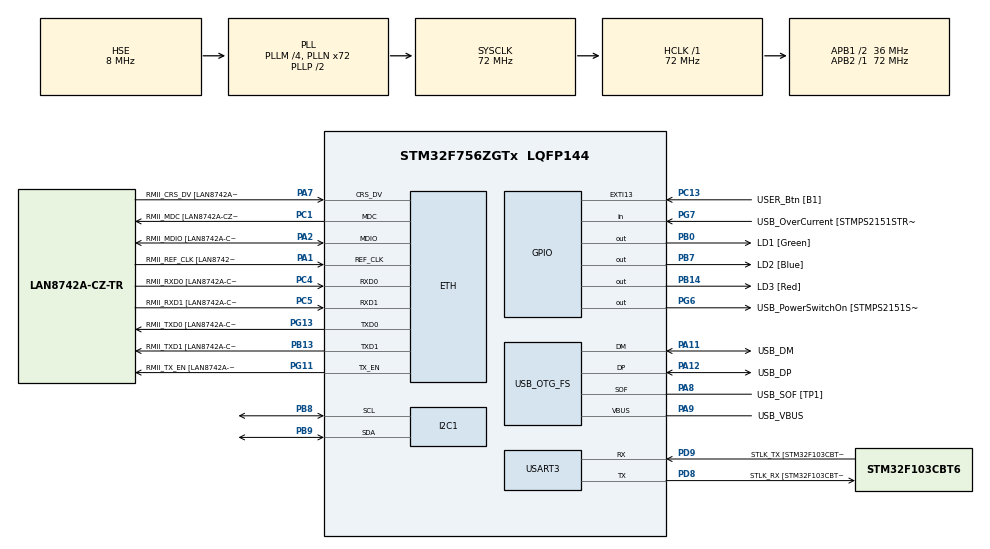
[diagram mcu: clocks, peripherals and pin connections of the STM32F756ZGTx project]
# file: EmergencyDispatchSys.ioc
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ETH.MediaInterface=HAL_ETH_RMII_MODE
ETH.PHY_Name=LAN8742A_PHY_ADDRESS
ETH.PHY_Value=0
ETH.PhyAddress=0
FREERTOS.Tasks01=defaultTask,24,128,StartDefaultTask,Default,NULL,Dynamic,NULL,NULL
I2C1.Timing=0x00808CD2
Mcu.Family=STM32F7
Mcu.Name=STM32F756ZGTx
Mcu.Package=LQFP144
NVIC.PriorityGroup=NVIC_PRIORITYGROUP_4
PA1.GPIO_Label=RMII_REF_CLK [LAN8742A-CZ-TR_REFCLK0]
PA1.Mode=RMII
PA1.Signal=ETH_REF_CLK
PA10.GPIO_Label=USB_ID
PA10.Signal=USB_OTG_FS_ID
PA11.GPIO_Label=USB_DM
PA11.Mode=Device_Only
PA11.Signal=USB_OTG_FS_DM
PA12.GPIO_Label=USB_DP
PA12.Mode=Device_Only
PA12.Signal=USB_OTG_FS_DP
PA13.GPIO_Label=TMS
PA13.Mode=Serial_Wire
PA13.Signal=SYS_JTMS-SWDIO
PA14.GPIO_Label=TCK
PA14.Mode=Serial_Wire
PA14.Signal=SYS_JTCK-SWCLK
PA2.GPIO_Label=RMII_MDIO [LAN8742A-CZ-TR_MDIO]
PA2.Mode=RMII
PA2.Signal=ETH_MDIO
PA7.GPIO_Label=RMII_CRS_DV [LAN8742A-CZ-TR_CRS_DV]
PA7.Mode=RMII
PA7.Signal=ETH_CRS_DV
PA8.GPIO_Label=USB_SOF [TP1]
PA8.Mode=Activate_SOF_FS
PA8.Signal=USB_OTG_FS_SOF
PA9.GPIO_Label=USB_VBUS
PA9.Mode=Activate_VBUS
PA9.Signal=USB_OTG_FS_VBUS
PB0.GPIO_Label=LD1 [Green]
PB0.Signal=GPIO_Output
PB13.GPIO_Label=RMII_TXD1 [LAN8742A-CZ-TR_TXD1]
PB13.Mode=RMII
PB13.Signal=ETH_TXD1
PB14.GPIO_Label=LD3 [Red]
PB14.Signal=GPIO_Output
PB3.GPIO_Label=SW0
PB3.Signal=SYS_JTDO-SWO
PB7.GPIO_Label=LD2 [Blue]
PB7.Signal=GPIO_Output
PB8.Mode=I2C
PB8.Signal=I2C1_SCL
PB9.Mode=I2C
PB9.Signal=I2C1_SDA
PC1.GPIO_Label=RMII_MDC [LAN8742A-CZ-TR_MDC]
PC1.Mode=RMII
PC1.Signal=ETH_MDC
PC13.GPIO_Label=USER_Btn [B1]
PC13.Signal=GPXTI13
PC14/OSC32_IN.Mode=LSE-External-Oscillator
PC14/OSC32_IN.Signal=RCC_OSC32_IN
PC15/OSC32_OUT.Mode=LSE-External-Oscillator
PC15/OSC32_OUT.Signal=RCC_OSC32_OUT
PC4.GPIO_Label=RMII_RXD0 [LAN8742A-CZ-TR_RXD0]
PC4.Mode=RMII
PC4.Signal=ETH_RXD0
PC5.GPIO_Label=RMII_RXD1 [LAN8742A-CZ-TR_RXD1]
PC5.Mode=RMII
PC5.Signal=ETH_RXD1
PD8.GPIO_Label=STLK_RX [STM32F103CBT6_PA3]
PD8.Mode=Asynchronous
PD8.Signal=USART3_TX
PD9.GPIO_Label=STLK_TX [STM32F103CBT6_PA2]
PD9.Mode=Asynchronous
PD9.Signal=USART3_RX
PG11.GPIO_Label=RMII_TX_EN [LAN8742A-CZ-TR_TXEN]
PG11.Mode=RMII
PG11.Signal=ETH_TX_EN
PG13.GPIO_Label=RMII_TXD0 [LAN8742A-CZ-TR_TXD0]
PG13.Mode=RMII
PG13.Signal=ETH_TXD0
PG6.GPIO_Label=USB_PowerSwitchOn [STMPS2151STR_EN]
PG6.Signal=GPIO_Output
PG7.GPIO_Label=USB_OverCurrent [STMPS2151STR_FAULT]
PG7.Signal=GPIO_Input
PH0/OSC_IN.GPIO_Label=MCO [STM32F103CBT6_PA8]
PH0/OSC_IN.Mode=HSE-External-Clock-Source
PH0/OSC_IN.Signal=RCC_OSC_IN
PH1/OSC_OUT.Mode=HSE-External-Clock-Source
PH1/OSC_OUT.Signal=RCC_OSC_OUT
ProjectManager.HeapSize=0x200
ProjectManager.StackSize=0x400
ProjectManager.TargetToolchain=STM32CubeIDE
RCC.48MHZClocksFreq_Value=24000000
RCC.AHBFreq_Value=72000000
RCC.APB1CLKDivider=RCC_HCLK_DIV2
RCC.APB1Freq_Value=36000000
RCC.APB1TimFreq_Value=72000000
RCC.APB2Freq_Value=72000000
RCC.APB2TimFreq_Value=72000000
RCC.CortexFreq_Value=72000000
RCC.HCLKFreq_Value=72000000
RCC.HSE_VALUE=8000000
RCC.HSI_VALUE=16000000
RCC.PLLM=4
RCC.PLLMUL=RCC_PLL_MUL9
RCC.PLLN=72
RCC.PLLQ=3
RCC.PRESCALERUSB=RCC_USBCLKSOURCE_PLL_DIV1_5
RCC.SYSCLKFreq_VALUE=72000000
RCC.SYSCLKSource=RCC_SYSCLKSOURCE_PLLCLK
RCC.SYSCLKSourceVirtual=RCC_SYSCLKSOURCE_PLLCLK
RCC.USBFreq_Value=48000000
RCC.VCOOutputFreq_Value=144000000
USART3.VirtualMode-Asynchronous=VM_ASYNC
USB_OTG_FS.VirtualMode=Device_Only
VP_FREERTOS_VS_CMSIS_V2.Mode=CMSIS_V2
board=NUCLEO-F756ZG

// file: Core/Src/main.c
/* USER CODE BEGIN Header */
/**
  ******************************************************************************
  * @file           : main.c
  * @brief          : Main program body
  ******************************************************************************
  * @attention
  *
  * Copyright (c) 2025 STMicroelectronics.
  * All rights reserved.
  *
  * This software is licensed under terms that can be found in the LICENSE file
  * in the root directory of this software component.
  * If no LICENSE file comes with this software, it is provided AS-IS.
  *
  ******************************************************************************
  */
/* USER CODE END Header */
#include "main.h"
#include "string.h"
#include "cmsis_os.h"

/* USER CODE BEGIN Includes */
#include <stdio.h>
#include <unistd.h>
#include <time.h>
#include <stdlib.h>
#include <string.h>
#include "FreeRTOS.h"
#include "task.h"
#include "queue.h"
#include "semphr.h"
#include "edconfig.h"
/* USER CODE END Includes */

/* USER CODE BEGIN PTD */
typedef struct EmergencyEvent_t
{
    int event_id;
} EmergencyEvent_t;

typedef struct LogEvent_t
{
    int event_id;
    int log_type;
    char msg[LOG_LEN];
} LogEvent_t;
/* USER CODE END PTD */

#if defined ( __ICCARM__ ) /*!< IAR Compiler */
#pragma location=0x2004c000
ETH_DMADescTypeDef  DMARxDscrTab[ETH_RX_DESC_CNT]; /* Ethernet Rx DMA Descriptors */
#pragma location=0x2004c0a0
ETH_DMADescTypeDef  DMATxDscrTab[ETH_TX_DESC_CNT]; /* Ethernet Tx DMA Descriptors */

#elif defined ( __CC_ARM )  /* MDK ARM Compiler */

__attribute__((at(0x2004c000))) ETH_DMADescTypeDef  DMARxDscrTab[ETH_RX_DESC_CNT]; /* Ethernet Rx DMA Descriptors */
__attribute__((at(0x2004c0a0))) ETH_DMADescTypeDef  DMATxDscrTab[ETH_TX_DESC_CNT]; /* Ethernet Tx DMA Descriptors */

#elif defined ( __GNUC__ ) /* GNU Compiler */

ETH_DMADescTypeDef DMARxDscrTab[ETH_RX_DESC_CNT] __attribute__((section(".RxDecripSection"))); /* Ethernet Rx DMA Descriptors */
ETH_DMADescTypeDef DMATxDscrTab[ETH_TX_DESC_CNT] __attribute__((section(".TxDecripSection")));   /* Ethernet Tx DMA Descriptors */
#endif

ETH_TxPacketConfig TxConfig;

ETH_HandleTypeDef heth;

I2C_HandleTypeDef hi2c1;

UART_HandleTypeDef huart3;

PCD_HandleTypeDef hpcd_USB_OTG_FS;

/* Definitions for defaultTask */
osThreadId_t defaultTaskHandle;
const osThreadAttr_t defaultTask_attributes = {
  .name = "defaultTask",
  .stack_size = 128 * 4,
  .priority = (osPriority_t) osPriorityLow,
};
/* USER CODE BEGIN PV */
QueueHandle_t xEventQueue;
QueueHandle_t xPoliceQueue;
QueueHandle_t xAmbulanceQueue;
QueueHandle_t xFireDeptQueue;
QueueHandle_t xLogQueue;

SemaphoreHandle_t xSemPoliceCabs;
SemaphoreHandle_t xSemAmbulances;
SemaphoreHandle_t xSemFiretrucks;
/* USER CODE END PV */

void SystemClock_Config(void);
static void MX_GPIO_Init(void);
static void MX_ETH_Init(void);
static void MX_I2C1_Init(void);
static void MX_USART3_UART_Init(void);
static void MX_USB_OTG_FS_PCD_Init(void);
void StartDefaultTask(void *argument);

/* USER CODE BEGIN 0 */

// For printf through uart3
int __io_putchar(int ch)
{
	HAL_UART_Transmit(&huart3, (uint8_t *)&ch, 1, 0xFFFF);
	return ch;
}

void Task_Generator(void *pvParameters)
{
    srand(time(NULL));

    for (;;)
    {
        EmergencyEvent_t event;
        event.event_id = rand() % 3 + 1;

        LogEvent_t log;
        log.event_id = event.event_id;
        log.log_type = LOG_CREATE;
        strcpy(log.msg, "[Generator] Created event");

        xQueueSend(xEventQueue, &event, portMAX_DELAY);
        xQueueSend(xLogQueue, &log, portMAX_DELAY);

        int delay = rand() % MAX_DELAY + MIN_DELAY;
        vTaskDelay(pdMS_TO_TICKS(delay));
    }

}

void Task_Dispatcher(void *pvParameters)
{
    EmergencyEvent_t event;

    for (;;)
    {
        if (xQueueReceive(xEventQueue, &event, portMAX_DELAY) == pdPASS)
        {
            LogEvent_t log;
            log.event_id = event.event_id;

            switch (event.event_id)
            {
            case CODE_PLC:
                xQueueSend(xPoliceQueue, &event, portMAX_DELAY);
                log.log_type = LOG_SENT;
                strcpy(log.msg, "[Dispatcher] Sent event to police");
                break;

            case CODE_AMB:
                xQueueSend(xAmbulanceQueue, &event, portMAX_DELAY);
                log.log_type = LOG_SENT;
                strcpy(log.msg, "[Dispatcher] Sent event to first aid");
                break;

            case CODE_FIR:
                xQueueSend(xFireDeptQueue, &event, portMAX_DELAY);
                log.log_type = LOG_SENT;
                strcpy(log.msg, "[Dispatcher] Sent event to fire department");
                break;

            default:
                log.log_type = LOG_ERR;
                strcpy(log.msg, "[Dispatcher] Unknown event type");
                break;
            }

            xQueueSend(xLogQueue, &log, portMAX_DELAY);
        }
    }

}

void Task_Police(void *pvParameters)
{
    EmergencyEvent_t event;

    for(;;)
    {
        if(xQueueReceive(xPoliceQueue, &event, portMAX_DELAY) == pdPASS)
        {
            LogEvent_t log;
            log.event_id = event.event_id;
            log.log_type = LOG_PLC_RCV;
            strcpy(log.msg, "[Police] Received event");
            xQueueSend(xLogQueue, &log, portMAX_DELAY);

            if(xSemaphoreTake(xSemPoliceCabs, portMAX_DELAY) == pdPASS)
            {
                vTaskDelay(pdMS_TO_TICKS(HNDL_DELAY));

                log.log_type = LOG_PLC_HNDL;
                strcpy(log.msg, "[Police] Finihed handling event");
                xQueueSend(xLogQueue, &log, portMAX_DELAY);

                xSemaphoreGive(xSemPoliceCabs);
            }
            else if (xSemaphoreTake(xSemAmbulances, portMAX_DELAY) == pdPASS)
            {
                vTaskDelay(pdMS_TO_TICKS(HNDL_DELAY));

                log.log_type = LOG_PLC_HNDL;
                strcpy(log.msg, "[Police] Finihed handling event WITH BORROWED AMBULANCE");
                xQueueSend(xLogQueue, &log, portMAX_DELAY);

                xSemaphoreGive(xSemAmbulances);
            }
            else if (xSemaphoreTake(xSemFiretrucks, portMAX_DELAY) == pdPASS)
            {
                vTaskDelay(pdMS_TO_TICKS(HNDL_DELAY));

                log.log_type = LOG_PLC_HNDL;
                strcpy(log.msg, "[Police] Finihed handling event WITH BORROWED FIRETRUCK");
                xQueueSend(xLogQueue, &log, portMAX_DELAY);

                xSemaphoreGive(xSemFiretrucks);
            }
        }
    }
}

void Task_Ambulance(void *pvParameters)
{
    EmergencyEvent_t event;

    for(;;)
    {
        if(xQueueReceive(xAmbulanceQueue, &event, portMAX_DELAY) == pdPASS)
        {
            LogEvent_t log;
            log.event_id = event.event_id;
            log.log_type = LOG_AMB_RCV;
            strcpy(log.msg, "[Ambulance] Received event");
            xQueueSend(xLogQueue, &log, portMAX_DELAY);

            if(xSemaphoreTake(xSemAmbulances, portMAX_DELAY) == pdPASS)
            {
                vTaskDelay(pdMS_TO_TICKS(HNDL_DELAY));

                log.log_type = LOG_AMB_HNDL;
                strcpy(log.msg, "[Ambulance] Finihed handling event");
                xQueueSend(xLogQueue, &log, portMAX_DELAY);

                xSemaphoreGive(xSemAmbulances);
            }
            else if (xSemaphoreTake(xSemPoliceCabs, portMAX_DELAY) == pdPASS)
            {
                vTaskDelay(pdMS_TO_TICKS(HNDL_DELAY));

                log.log_type = LOG_AMB_HNDL;
                strcpy(log.msg, "[Ambulance] Finihed handling event WITH BORROWED POLICE CAB");
                xQueueSend(xLogQueue, &log, portMAX_DELAY);

                xSemaphoreGive(xSemPoliceCabs);
            }
            else if (xSemaphoreTake(xSemFiretrucks, portMAX_DELAY) == pdPASS)
            {
                vTaskDelay(pdMS_TO_TICKS(HNDL_DELAY));

                log.log_type = LOG_AMB_HNDL;
                strcpy(log.msg, "[Ambulance] Finihed handling event WITH BORROWED FIRETRUCK");
                xQueueSend(xLogQueue, &log, portMAX_DELAY);

                xSemaphoreGive(xSemFiretrucks);
            }
        }
    }
}

void Task_FireDepartment(void *pvParameters)
{
    EmergencyEvent_t event;

    for(;;)
    {
        if(xQueueReceive(xFireDeptQueue, &event, portMAX_DELAY) == pdPASS)
        {
            LogEvent_t log;
            log.event_id = event.event_id;
            log.log_type = LOG_FIR_RCV;
            strcpy(log.msg, "[Fire Dept] Received event");
            xQueueSend(xLogQueue, &log, portMAX_DELAY);

            if(xSemaphoreTake(xSemFiretrucks, portMAX_DELAY) == pdPASS)
            {
                vTaskDelay(pdMS_TO_TICKS(HNDL_DELAY));

                log.log_type = LOG_FIR_HNDL;
                strcpy(log.msg, "[Fire Dept] Finihed handling event");
                xQueueSend(xLogQueue, &log, portMAX_DELAY);

                xSemaphoreGive(xSemFiretrucks);
            }
            else if(xSemaphoreTake(xSemAmbulances, portMAX_DELAY) == pdPASS)
            {
                vTaskDelay(pdMS_TO_TICKS(HNDL_DELAY));

                log.log_type = LOG_FIR_HNDL;
                strcpy(log.msg, "[Fire Dept] Finihed handling event WITH BORROWED AMBULANCE");
                xQueueSend(xLogQueue, &log, portMAX_DELAY);

                xSemaphoreGive(xSemAmbulances);
            }
            else if (xSemaphoreTake(xSemPoliceCabs, portMAX_DELAY) == pdPASS)
            {
                vTaskDelay(pdMS_TO_TICKS(HNDL_DELAY));

                log.log_type = LOG_FIR_HNDL;
                strcpy(log.msg, "[Fire Dept] Finished handling event WITH BORROWED POLICE CAB");
                xQueueSend(xLogQueue, &log, portMAX_DELAY);

                xSemaphoreGive(xSemPoliceCabs);
            }
        }
    }
}

void Task_Logger(void *pvParameters)
{
    LogEvent_t log;

    for (;;)
    {
        if (xQueueReceive(xLogQueue, &log, portMAX_DELAY) == pdPASS)
        {
            printf("Event type %d: %s [status: %d]\r\n", log.event_id, log.msg, log.log_type);
        }
    }
}
/* USER CODE END 0 */

int main(void)
{

  /* MCU Configuration--------------------------------------------------------*/

  /* Reset of all peripherals, Initializes the Flash interface and the Systick. */
  HAL_Init();

  /* Configure the system clock */
  SystemClock_Config();

  /* Initialize all configured peripherals */
  MX_GPIO_Init();
  MX_ETH_Init();
  MX_I2C1_Init();
  MX_USART3_UART_Init();
  MX_USB_OTG_FS_PCD_Init();

  /* Init scheduler */
  osKernelInitialize();

  /* USER CODE BEGIN RTOS_SEMAPHORES */
  xSemPoliceCabs = xSemaphoreCreateCounting(N_PCR, N_PCR);
  xSemAmbulances = xSemaphoreCreateCounting(N_AMB, N_AMB);
  xSemFiretrucks = xSemaphoreCreateCounting(N_FTR, N_FTR);
  /* USER CODE END RTOS_SEMAPHORES */

  /* USER CODE BEGIN RTOS_QUEUES */
  xEventQueue = xQueueCreate(QUEUE_SIZE, sizeof(EmergencyEvent_t));
      if (xEventQueue == NULL)
      {
          printf("Failed to create event queue\r\n");
          while (1);
      }

      xPoliceQueue = xQueueCreate(QUEUE_SIZE, sizeof(EmergencyEvent_t));
      if (xPoliceQueue == NULL)
      {
    	  printf("Failed to create police queue\r\n");
    	  while (1);
      }

      xAmbulanceQueue = xQueueCreate(QUEUE_SIZE, sizeof(EmergencyEvent_t));
      if (xAmbulanceQueue == NULL)
      {
    	  printf("Failed to create ambulance queue\r\n");
    	  while (1);
      }

      xFireDeptQueue = xQueueCreate(QUEUE_SIZE, sizeof(EmergencyEvent_t));
      if (xFireDeptQueue == NULL)
      {
    	  printf("Failed to create fire department queue\r\n");
    	  while (1);
      }

      xLogQueue = xQueueCreate(QUEUE_SIZE, sizeof(LogEvent_t));
      if (xLogQueue == NULL)
      {
    	  printf("Failed to create log queue\r\n");
    	  while (1);
      }
  /* USER CODE END RTOS_QUEUES */

  /* Create the thread(s) */
  /* creation of defaultTask */
  defaultTaskHandle = osThreadNew(StartDefaultTask, NULL, &defaultTask_attributes);

  /* USER CODE BEGIN RTOS_THREADS */

  if(xTaskCreate(Task_Generator, "Generator", configMINIMAL_STACK_SIZE, NULL, PR_GEN, NULL) != pdPASS)
  {
	  printf("Failed to create Generator task\r\n");
	  while (1);
  }

  if(xTaskCreate(Task_Dispatcher, "Dispatcher", configMINIMAL_STACK_SIZE, NULL, PR_DIS, NULL) != pdPASS)
  {
  	  printf("Failed to create Dispatcher task\r\n");
  	  while (1);
  }

  if(xTaskCreate(Task_Police, "Police", configMINIMAL_STACK_SIZE, NULL, PR_PLC, NULL) != pdPASS)
    {
    	  printf("Failed to create Police task\r\n");
    	  while (1);
    }

  if(xTaskCreate(Task_Ambulance, "Ambulance", configMINIMAL_STACK_SIZE, NULL, PR_AMB, NULL) != pdPASS)
    {
    	  printf("Failed to create Ambulance task\r\n");
    	  while (1);
    }

  if(xTaskCreate(Task_FireDepartment, "Fire Department", configMINIMAL_STACK_SIZE, NULL, PR_FIR, NULL) != pdPASS)
    {
    	  printf("Failed to create Fire Department task\r\n");
    	  while (1);
    }

  if(xTaskCreate(Task_Logger, "Logger", configMINIMAL_STACK_SIZE, NULL, PR_LOG, NULL) != pdPASS)
    {
    	  printf("Failed to create Logger task\r\n");
    	  while (1);
    }

  /* USER CODE END RTOS_THREADS */

  /* Start scheduler */
  osKernelStart();

  /* We should never get here as control is now taken by the scheduler */

  /* Infinite loop */
  /* USER CODE BEGIN WHILE */
  printf("Scheduler failed \r\n");
  while (1)
  {
    /* USER CODE END WHILE */

  }
}

void SystemClock_Config(void)
{
  RCC_OscInitTypeDef RCC_OscInitStruct = {0};
  RCC_ClkInitTypeDef RCC_ClkInitStruct = {0};

  /** Configure LSE Drive Capability
  */
  HAL_PWR_EnableBkUpAccess();

  /** Configure the main internal regulator output voltage
  */
  __HAL_RCC_PWR_CLK_ENABLE();
  __HAL_PWR_VOLTAGESCALING_CONFIG(PWR_REGULATOR_VOLTAGE_SCALE3);

  /** Initializes the RCC Oscillators according to the specified parameters
  * in the RCC_OscInitTypeDef structure.
  */
  RCC_OscInitStruct.OscillatorType = RCC_OSCILLATORTYPE_HSE;
  RCC_OscInitStruct.HSEState = RCC_HSE_BYPASS;
  RCC_OscInitStruct.PLL.PLLState = RCC_PLL_ON;
  RCC_OscInitStruct.PLL.PLLSource = RCC_PLLSOURCE_HSE;
  RCC_OscInitStruct.PLL.PLLM = 4;
  RCC_OscInitStruct.PLL.PLLN = 72;
  RCC_OscInitStruct.PLL.PLLP = RCC_PLLP_DIV2;
  RCC_OscInitStruct.PLL.PLLQ = 3;
  if (HAL_RCC_OscConfig(&RCC_OscInitStruct) != HAL_OK)
  {
    Error_Handler();
  }

  /** Initializes the CPU, AHB and APB buses clocks
  */
  RCC_ClkInitStruct.ClockType = RCC_CLOCKTYPE_HCLK|RCC_CLOCKTYPE_SYSCLK
                              |RCC_CLOCKTYPE_PCLK1|RCC_CLOCKTYPE_PCLK2;
  RCC_ClkInitStruct.SYSCLKSource = RCC_SYSCLKSOURCE_PLLCLK;
  RCC_ClkInitStruct.AHBCLKDivider = RCC_SYSCLK_DIV1;
  RCC_ClkInitStruct.APB1CLKDivider = RCC_HCLK_DIV2;
  RCC_ClkInitStruct.APB2CLKDivider = RCC_HCLK_DIV1;

  if (HAL_RCC_ClockConfig(&RCC_ClkInitStruct, FLASH_LATENCY_2) != HAL_OK)
  {
    Error_Handler();
  }
}

static void MX_ETH_Init(void)
{

   static uint8_t MACAddr[6];

  heth.Instance = ETH;
  MACAddr[0] = 0x00;
  MACAddr[1] = 0x80;
  MACAddr[2] = 0xE1;
  MACAddr[3] = 0x00;
  MACAddr[4] = 0x00;
  MACAddr[5] = 0x00;
  heth.Init.MACAddr = &MACAddr[0];
  heth.Init.MediaInterface = HAL_ETH_RMII_MODE;
  heth.Init.TxDesc = DMATxDscrTab;
  heth.Init.RxDesc = DMARxDscrTab;
  heth.Init.RxBuffLen = 1524;

  if (HAL_ETH_Init(&heth) != HAL_OK)
  {
    Error_Handler();
  }

  memset(&TxConfig, 0 , sizeof(ETH_TxPacketConfig));
  TxConfig.Attributes = ETH_TX_PACKETS_FEATURES_CSUM | ETH_TX_PACKETS_FEATURES_CRCPAD;
  TxConfig.ChecksumCtrl = ETH_CHECKSUM_IPHDR_PAYLOAD_INSERT_PHDR_CALC;
  TxConfig.CRCPadCtrl = ETH_CRC_PAD_INSERT;

}

static void MX_I2C1_Init(void)
{

  hi2c1.Instance = I2C1;
  hi2c1.Init.Timing = 0x00808CD2;
  hi2c1.Init.OwnAddress1 = 0;
  hi2c1.Init.AddressingMode = I2C_ADDRESSINGMODE_7BIT;
  hi2c1.Init.DualAddressMode = I2C_DUALADDRESS_DISABLE;
  hi2c1.Init.OwnAddress2 = 0;
  hi2c1.Init.OwnAddress2Masks = I2C_OA2_NOMASK;
  hi2c1.Init.GeneralCallMode = I2C_GENERALCALL_DISABLE;
  hi2c1.Init.NoStretchMode = I2C_NOSTRETCH_DISABLE;
  if (HAL_I2C_Init(&hi2c1) != HAL_OK)
  {
    Error_Handler();
  }

  /** Configure Analogue filter
  */
  if (HAL_I2CEx_ConfigAnalogFilter(&hi2c1, I2C_ANALOGFILTER_ENABLE) != HAL_OK)
  {
    Error_Handler();
  }

  /** Configure Digital filter
  */
  if (HAL_I2CEx_ConfigDigitalFilter(&hi2c1, 0) != HAL_OK)
  {
    Error_Handler();
  }

}

static void MX_USART3_UART_Init(void)
{

  huart3.Instance = USART3;
  huart3.Init.BaudRate = 115200;
  huart3.Init.WordLength = UART_WORDLENGTH_8B;
  huart3.Init.StopBits = UART_STOPBITS_1;
  huart3.Init.Parity = UART_PARITY_NONE;
  huart3.Init.Mode = UART_MODE_TX_RX;
  huart3.Init.HwFlowCtl = UART_HWCONTROL_NONE;
  huart3.Init.OverSampling = UART_OVERSAMPLING_16;
  huart3.Init.OneBitSampling = UART_ONE_BIT_SAMPLE_DISABLE;
  huart3.AdvancedInit.AdvFeatureInit = UART_ADVFEATURE_NO_INIT;
  if (HAL_UART_Init(&huart3) != HAL_OK)
  {
    Error_Handler();
  }

}

static void MX_USB_OTG_FS_PCD_Init(void)
{

  hpcd_USB_OTG_FS.Instance = USB_OTG_FS;
  hpcd_USB_OTG_FS.Init.dev_endpoints = 6;
  hpcd_USB_OTG_FS.Init.speed = PCD_SPEED_FULL;
  hpcd_USB_OTG_FS.Init.dma_enable = DISABLE;
  hpcd_USB_OTG_FS.Init.phy_itface = PCD_PHY_EMBEDDED;
  hpcd_USB_OTG_FS.Init.Sof_enable = ENABLE;
  hpcd_USB_OTG_FS.Init.low_power_enable = DISABLE;
  hpcd_USB_OTG_FS.Init.lpm_enable = DISABLE;
  hpcd_USB_OTG_FS.Init.vbus_sensing_enable = ENABLE;
  hpcd_USB_OTG_FS.Init.use_dedicated_ep1 = DISABLE;
  if (HAL_PCD_Init(&hpcd_USB_OTG_FS) != HAL_OK)
  {
    Error_Handler();
  }

}

static void MX_GPIO_Init(void)
{
  GPIO_InitTypeDef GPIO_InitStruct = {0};

  /* GPIO Ports Clock Enable */
  __HAL_RCC_GPIOC_CLK_ENABLE();
  __HAL_RCC_GPIOH_CLK_ENABLE();
  __HAL_RCC_GPIOA_CLK_ENABLE();
  __HAL_RCC_GPIOB_CLK_ENABLE();
  __HAL_RCC_GPIOD_CLK_ENABLE();
  __HAL_RCC_GPIOG_CLK_ENABLE();

  /*Configure GPIO pin Output Level */
  HAL_GPIO_WritePin(GPIOB, LD1_Pin|LD3_Pin|LD2_Pin, GPIO_PIN_RESET);

  /*Configure GPIO pin Output Level */
  HAL_GPIO_WritePin(USB_PowerSwitchOn_GPIO_Port, USB_PowerSwitchOn_Pin, GPIO_PIN_RESET);

  /*Configure GPIO pin : USER_Btn_Pin */
  GPIO_InitStruct.Pin = USER_Btn_Pin;
  GPIO_InitStruct.Mode = GPIO_MODE_IT_RISING;
  GPIO_InitStruct.Pull = GPIO_NOPULL;
  HAL_GPIO_Init(USER_Btn_GPIO_Port, &GPIO_InitStruct);

  /*Configure GPIO pins : LD1_Pin LD3_Pin LD2_Pin */
  GPIO_InitStruct.Pin = LD1_Pin|LD3_Pin|LD2_Pin;
  GPIO_InitStruct.Mode = GPIO_MODE_OUTPUT_PP;
  GPIO_InitStruct.Pull = GPIO_NOPULL;
  GPIO_InitStruct.Speed = GPIO_SPEED_FREQ_LOW;
  HAL_GPIO_Init(GPIOB, &GPIO_InitStruct);

  /*Configure GPIO pin : USB_PowerSwitchOn_Pin */
  GPIO_InitStruct.Pin = USB_PowerSwitchOn_Pin;
  GPIO_InitStruct.Mode = GPIO_MODE_OUTPUT_PP;
  GPIO_InitStruct.Pull = GPIO_NOPULL;
  GPIO_InitStruct.Speed = GPIO_SPEED_FREQ_LOW;
  HAL_GPIO_Init(USB_PowerSwitchOn_GPIO_Port, &GPIO_InitStruct);

  /*Configure GPIO pin : USB_OverCurrent_Pin */
  GPIO_InitStruct.Pin = USB_OverCurrent_Pin;
  GPIO_InitStruct.Mode = GPIO_MODE_INPUT;
  GPIO_InitStruct.Pull = GPIO_NOPULL;
  HAL_GPIO_Init(USB_OverCurrent_GPIO_Port, &GPIO_InitStruct);

}

void StartDefaultTask(void *argument)
{
  for(;;)
  {
    osDelay(1);
  }
}

void Error_Handler(void)
{
  __disable_irq();
  while (1)
  {
  }
}
